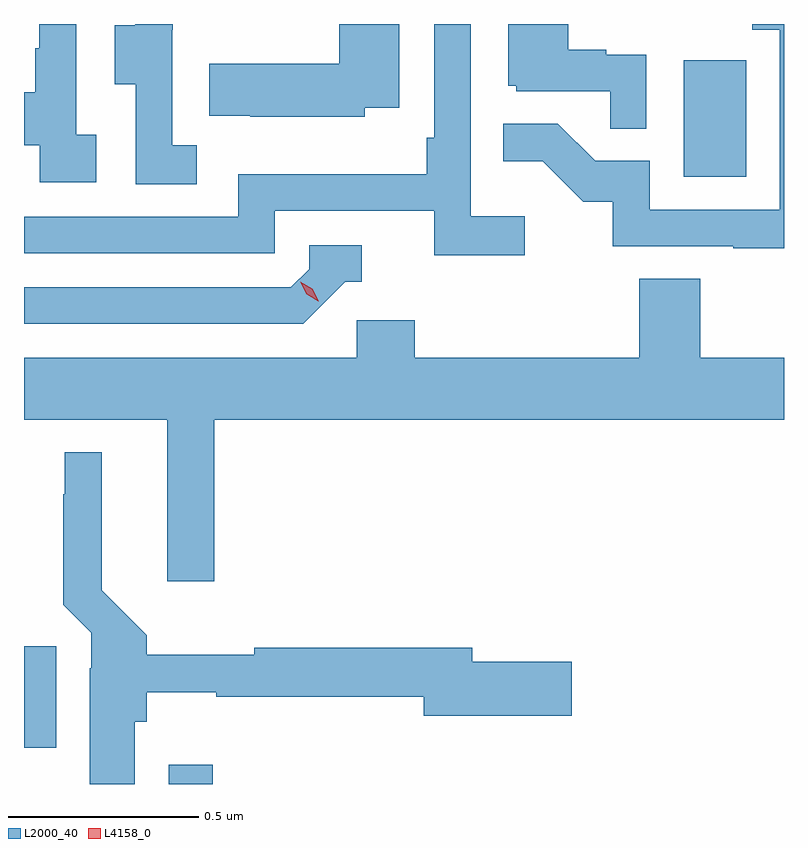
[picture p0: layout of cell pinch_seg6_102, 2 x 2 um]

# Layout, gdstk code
import gdstk
lib = gdstk.Library(unit=1e-6, precision=1e-09)
def R(c, l, rs):  # rectangles x0, y0, x1, y1
    for r in rs: c.add(gdstk.rectangle(r[:2], r[2:], *l))
def P(c, l, *ps):  # polygons
    for p in ps: c.add(gdstk.Polygon(p, *l))
L2000_40 = (2000, 40)
L4158_0 = (4158, 0)

pinch_seg6_102 = lib.new_cell('pinch_seg6_102')
R(pinch_seg6_102, L2000_40, [(930.351,918.406,930.467,918.457), (929.97,918.501,930.055,918.769), (931.706,920.004,931.87,920.311)])
P(pinch_seg6_102, L2000_40, [(930.867,920.186),(930.958,920.186),(930.958,920.406),(930.8,920.406),(930.8,920.302),(930.457,920.302),(930.457,920.165),(930.565,920.165),(930.565,920.162),(930.867,920.162)],
  [(931.608,920.325),(931.502,920.325),(931.502,920.338),(931.402,920.338),(931.402,920.406),(931.244,920.406),(931.244,920.244),(931.266,920.244),(931.266,920.229),(931.513,920.229),(931.513,920.131),(931.608,920.131)],
  [(930.16,920.114),(930.108,920.114),(930.108,920.406),(930.01,920.406),(930.01,920.342),(930,920.342),(930,920.227),(929.97,920.227),(929.97,920.087),(930.012,920.087),(930.012,919.989),(930.16,919.989)],
  [(931.97,920.406),(931.887,920.406),(931.887,920.391),(931.959,920.391),(931.959,919.917),(931.617,919.917),(931.617,920.046),(931.473,920.046),(931.375,920.144),(931.231,920.144),(931.231,920.045),(931.335,920.045),(931.442,919.938),(931.519,919.938),(931.519,919.821),(931.837,919.821),(931.837,919.816),(931.97,919.816)],
  [(931.288,919.9),(931.146,919.9),(931.146,920.406),(931.05,920.406),(931.05,920.107),(931.03,920.107),(931.03,920.011),(930.534,920.011),(930.534,919.899),(929.97,919.899),(929.97,919.803),(930.63,919.803),(930.63,919.914),(931.049,919.914),(931.049,919.798),(931.288,919.798)],
  [(930.424,920.087),(930.36,920.087),(930.36,920.391),(930.362,920.391),(930.362,920.406),(930.263,920.406),(930.263,920.403),(930.209,920.403),(930.209,920.248),(930.264,920.248),(930.264,919.984),(930.424,919.984)],
  [(930.816,919.728),(930.859,919.728),(930.859,919.824),(930.72,919.824),(930.72,919.761),(930.672,919.713),(929.97,919.713),(929.97,919.617),(930.705,919.617)],
  [(930.47,919.364),(931.97,919.364),(931.97,919.528),(931.749,919.528),(931.749,919.736),(931.589,919.736),(931.589,919.528),(930.998,919.528),(930.998,919.626),(930.846,919.626),(930.846,919.528),(929.97,919.528),(929.97,919.364),(930.347,919.364),(930.347,918.939),(930.47,918.939)],
  [(930.262,918.57),(930.293,918.57),(930.293,918.647),(930.476,918.647),(930.476,918.636),(931.022,918.636),(931.022,918.586),(931.411,918.586),(931.411,918.728),(931.15,918.728),(931.15,918.764),(930.576,918.764),(930.576,918.746),(930.293,918.746),(930.293,918.798),(930.175,918.916),(930.175,919.279),(930.077,919.279),(930.077,919.169),(930.073,919.169),(930.073,918.878),(930.147,918.804),(930.147,918.71),(930.143,918.71),(930.143,918.406),(930.262,918.406)])
P(pinch_seg6_102, L4158_0, [(930.744,919.676),(930.714,919.695),(930.697,919.728),(930.697,919.728),(930.697,919.728),(930.728,919.709),(930.745,919.676),(930.745,919.676)])

lib.write_gds('pinch_seg6_102.gds')
